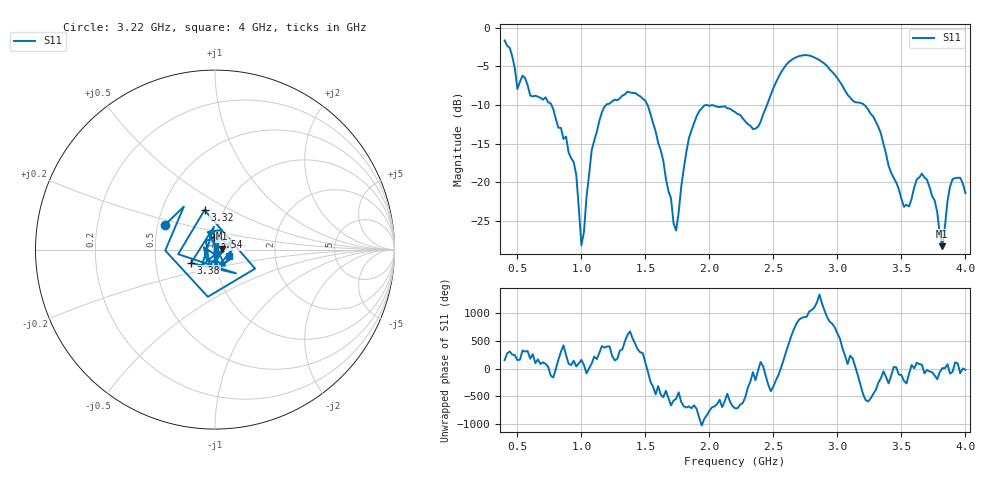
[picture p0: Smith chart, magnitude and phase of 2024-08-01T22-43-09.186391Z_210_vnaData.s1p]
!Created with skrf (http://scikit-rf.org).
# Hz S RI R 50.0
!freq ReS11 ImS11
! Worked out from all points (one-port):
!   181 points, 400 MHz to 4 GHz, reference 50 ohm
!   lowest |S11| = -28.3 dB at 3.82 GHz (marker M1), VSWR 1.08, Z = 54 + j0.593 ohm
!   |S11| at or under -10 dB: 1.517 GHz to 1.976 GHz (459.6 MHz wide, 26.3 % of centre); 1.982 GHz to 2.45 GHz (467.2 MHz wide, 21.1 % of centre); 3.21 GHz to end of sweep (the widest 3 of 4)
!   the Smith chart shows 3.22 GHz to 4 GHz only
!   S11 on the Smith chart (normalised r, x): 3.22 GHz: 0.55, +0.17; 3.32 GHz: 0.81, +0.38; 3.38 GHz: 0.76, -0.12; 3.54 GHz: 0.98, +0.14; 4 GHz: 1.17, -0.08
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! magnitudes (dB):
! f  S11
! 400 MHz  -1.6
! 500 MHz  -7.9
! 720 MHz  -9.0
! 860 MHz  -14.4
! 960 MHz  -19.1
! 1 GHz  -28.2
! 1.08 GHz  -15.9
! 1.14 GHz  -12.1
! 1.3 GHz  -9.1
! 1.5 GHz  -9.5
! 1.72 GHz  -25.3
! 1.76 GHz  -23.9
! 1.84 GHz  -14.3
! 1.92 GHz  -10.8
! 2.2 GHz  -10.9
! 2.38 GHz  -12.8
! 2.66 GHz  -3.9
! 3.1 GHz  -9.0
! 3.22 GHz  -10.1
! 3.32 GHz  -12.9
! 3.38 GHz  -16.3
! 3.54 GHz  -22.9
! 3.56 GHz  -23.1
! 3.66 GHz  -18.9
! 3.76 GHz  -22.4
! 3.82 GHz  -28.3
! 3.9 GHz  -19.6
! 4 GHz  -21.4
